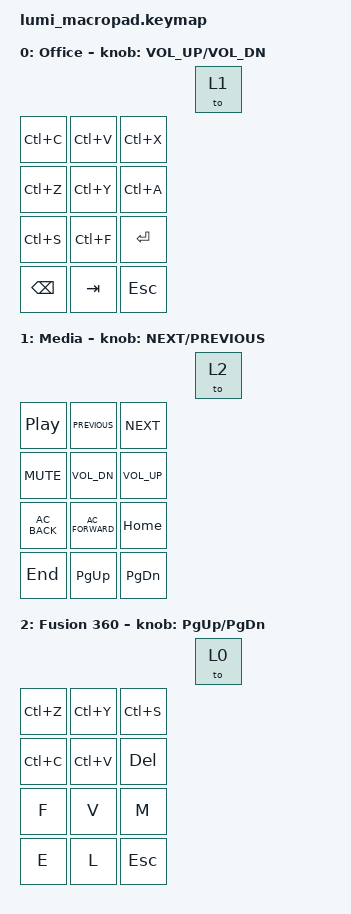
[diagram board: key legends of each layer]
\
#include <behaviors.dtsi>
#include <dt-bindings/zmk/keys.h>
#include <dt-bindings/zmk/bt.h>

/ {
    keymap {
        compatible = "zmk,keymap";

        /*
         * Binding order:
         * K1 K2 K3
         * K4 K5 K6
         * K7 K8 K9
         * K10 K11 K12
         * Encoder push
         */

        office {
            display-name = "Office";

            bindings = <
                &kp LC(C)       &kp LC(V)       &kp LC(X)
                &kp LC(Z)       &kp LC(Y)       &kp LC(A)
                &kp LC(S)       &kp LC(F)       &kp ENTER
                &kp BACKSPACE   &kp TAB         &kp ESC
                &to 1
            >;

            sensor-bindings = <&inc_dec_kp C_VOL_UP C_VOL_DN>;
        };

        media {
            display-name = "Media";

            bindings = <
                &kp C_PLAY_PAUSE   &kp C_PREVIOUS    &kp C_NEXT
                &kp C_MUTE         &kp C_VOL_DN      &kp C_VOL_UP
                &kp C_AC_BACK      &kp C_AC_FORWARD  &kp HOME
                &kp END            &kp PAGE_UP       &kp PAGE_DOWN
                &to 2
            >;

            sensor-bindings = <&inc_dec_kp C_NEXT C_PREVIOUS>;
        };

        fusion {
            display-name = "Fusion 360";

            bindings = <
                &kp LC(Z)       &kp LC(Y)       &kp LC(S)
                &kp LC(C)       &kp LC(V)       &kp DELETE
                &kp F           &kp V           &kp M
                &kp E           &kp L           &kp ESC
                &to 0
            >;

            sensor-bindings = <&inc_dec_kp PAGE_UP PAGE_DOWN>;
        };
    };
};
